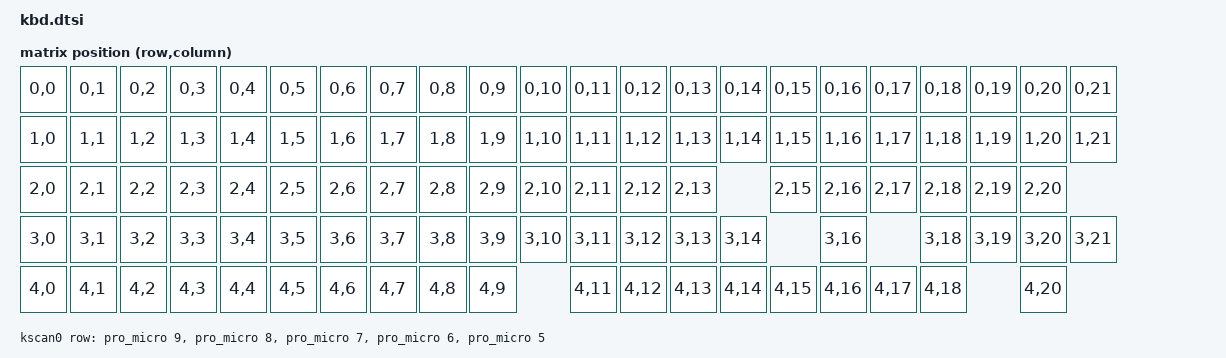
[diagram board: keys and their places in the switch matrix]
#include <dt-bindings/zmk/matrix_transform.h>

/ {
    chosen {
        zmk,kscan = &kscan0;
        zmk,matrix-transform = &default_transform;
    };

    default_transform: keymap_transform_0 {
        compatible = "zmk,matrix-transform";
        columns = <22>;
        rows = <5>;
// |      | SW1  | SW6  | SW11 | SW16 | SW21 | SW26 | SW31 |   | SW1  | SW6  | SW11 | SW16 | SW21 | SW26 | SW31 | SW36 |   | SW1  | SW6  | SW11 |      |      |      |      |
// | SW2  | SW7  | SW12 | SW17 | SW22 | SW27 | SW32 |      |   | SW2  | SW7  | SW12 | SW17 | SW22 | SW27 | SW32 | SW37 |   | SW2  | SW7  | SW12 | SW16 | SW21 | SW26 | SW31 |
// | SW3  | SW8  | SW13 | SW18 | SW23 | SW28 | SW33 |      |   | SW3  | SW8  | SW13 | SW18 | SW23 | SW28 | SW33 |      |   | SW3  | SW8  | SW13 | SW17 | SW22 | SW27 | SW32 |
// | SW4  | SW9  | SW14 | SW19 | SW24 | SW29 | SW34 |      |   | SW4  | SW9  | SW14 | SW19 | SW24 | SW29 | SW34 | SW39 |   |      |      |      | SW18 | SW23 | SW28 |      |
// | SW5  | SW10 | SW15 | SW20 | SW25 | SW30 |      |      |   | SW10 |      | SW15 |      | SW25 | SW30 | SW35 | SW40 |   |      | SW9  |      | SW19 | SW24 | SW29 | SW34 |
// |      |      |      |      |      |      | SW35 |      |   | SW5  |      |      |      |      |      |      |      |   | SW5  | SW10 | SW15 | SW20 |      | SW30 |      |

        map = <
RC(0,0) RC(0,1) RC(0,2) RC(0,3) RC(0,4) RC(0,5) RC(0,6)  RC(0,7) RC(0,8) RC(0,9) RC(0,10) RC(0,11) RC(0,12) RC(0,13) RC(0,14)  RC(0,15) RC(0,16) RC(0,17) RC(0,18) RC(0,19) RC(0,20) RC(0,21)
RC(1,0) RC(1,1) RC(1,2) RC(1,3) RC(1,4) RC(1,5) RC(1,6)  RC(1,7) RC(1,8) RC(1,9) RC(1,10) RC(1,11) RC(1,12) RC(1,13) RC(1,14)  RC(1,15) RC(1,16) RC(1,17) RC(1,18) RC(1,19) RC(1,20) RC(1,21)
RC(2,0) RC(2,1) RC(2,2) RC(2,3) RC(2,4) RC(2,5) RC(2,6)  RC(2,7) RC(2,8) RC(2,9) RC(2,10) RC(2,11) RC(2,12) RC(2,13)           RC(2,15) RC(2,16) RC(2,17) RC(2,18) RC(2,19) RC(2,20)         
RC(3,0) RC(3,1) RC(3,2) RC(3,3) RC(3,4) RC(3,5) RC(3,6)  RC(3,7) RC(3,8) RC(3,9) RC(3,10) RC(3,11) RC(3,12) RC(3,13) RC(3,14)           RC(3,16)          RC(3,18) RC(3,19) RC(3,20) RC(3,21)
RC(4,0) RC(4,1) RC(4,2) RC(4,3) RC(4,4) RC(4,5) RC(4,6)  RC(4,7) RC(4,8) RC(4,9)          RC(4,11) RC(4,12) RC(4,13) RC(4,14)  RC(4,15) RC(4,16) RC(4,17) RC(4,18)          RC(4,20)         
        >;
    };

    kscan0: kscan {
        compatible = "zmk,kscan-gpio-matrix";
        wakeup-source;

        diode-direction = "col2row";
        row-gpios
            = <&pro_micro 9 (GPIO_ACTIVE_HIGH | GPIO_PULL_DOWN)>
            , <&pro_micro 8 (GPIO_ACTIVE_HIGH | GPIO_PULL_DOWN)>
            , <&pro_micro 7 (GPIO_ACTIVE_HIGH | GPIO_PULL_DOWN)>
            , <&pro_micro 6 (GPIO_ACTIVE_HIGH | GPIO_PULL_DOWN)>
            , <&pro_micro 5 (GPIO_ACTIVE_HIGH | GPIO_PULL_DOWN)>
            ;

    };
};
